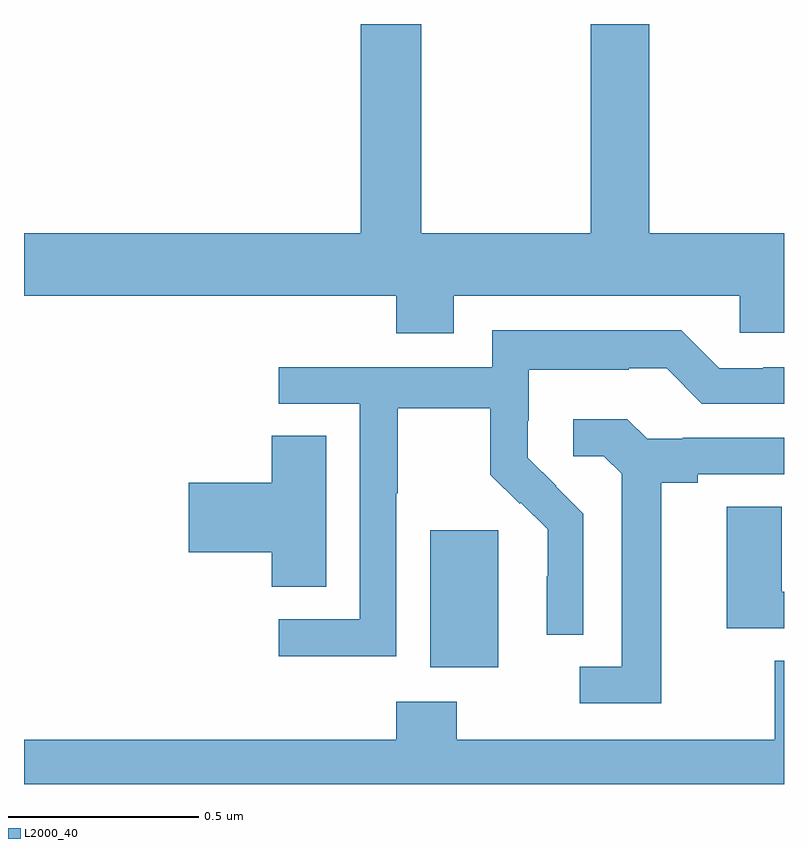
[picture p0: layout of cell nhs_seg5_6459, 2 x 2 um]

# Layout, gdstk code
import gdstk
lib = gdstk.Library(unit=1e-6, precision=1e-09)
def R(c, l, rs):  # rectangles x0, y0, x1, y1
    for r in rs: c.add(gdstk.rectangle(r[:2], r[2:], *l))
def P(c, l, *ps):  # polygons
    for p in ps: c.add(gdstk.Polygon(p, *l))
L2000_40 = (2000, 40)

nhs_seg5_6459 = lib.new_cell('nhs_seg5_6459')
R(nhs_seg5_6459, L2000_40, [(197.069,865.106,197.248,865.467)])
P(nhs_seg5_6459, L2000_40, [(197.131,866.084),(197.883,866.084),(197.883,865.986),(198,865.986),(198,866.248),(197.646,866.248),(197.646,866.799),(197.491,866.799),(197.491,866.248),(197.046,866.248),(197.046,866.799),(196.886,866.799),(196.886,866.248),(196,866.248),(196,866.084),(196.979,866.084),(196.979,865.985),(197.131,865.985)],
  [(196.98,865.564),(196.983,865.564),(196.983,865.788),(197.227,865.788),(197.227,865.613),(197.304,865.536),(197.307,865.539),(197.378,865.469),(197.378,865.346),(197.376,865.346),(197.376,865.192),(197.472,865.192),(197.472,865.51),(197.399,865.583),(197.4,865.584),(197.326,865.658),(197.326,865.755),(197.328,865.755),(197.328,865.889),(197.591,865.889),(197.591,865.893),(197.691,865.893),(197.784,865.8),(198,865.8),(198,865.896),(197.945,865.896),(197.945,865.893),(197.829,865.893),(197.729,865.993),(197.232,865.993),(197.232,865.896),(196.671,865.896),(196.671,865.8),(196.884,865.8),(196.884,865.233),(196.671,865.233),(196.671,865.135),(196.98,865.135)],
  [(197.677,865.592),(197.773,865.592),(197.773,865.614),(198,865.614),(198,865.71),(197.734,865.71),(197.734,865.707),(197.64,865.707),(197.588,865.759),(197.445,865.759),(197.445,865.662),(197.526,865.662),(197.573,865.615),(197.573,865.107),(197.463,865.107),(197.463,865.011),(197.677,865.011)],
  [(196.795,865.715),(196.652,865.715),(196.652,865.592),(196.434,865.592),(196.434,865.409),(196.652,865.409),(196.652,865.318),(196.795,865.318)],
  [(198,865.305),(197.994,865.305),(197.994,865.529),(197.849,865.529),(197.849,865.209),(198,865.209)],
  [(198,865.124),(197.975,865.124),(197.975,864.916),(197.139,864.916),(197.139,865.015),(196.979,865.015),(196.979,864.916),(196,864.916),(196,864.799),(198,864.799)])

lib.write_gds('nhs_seg5_6459.gds')
